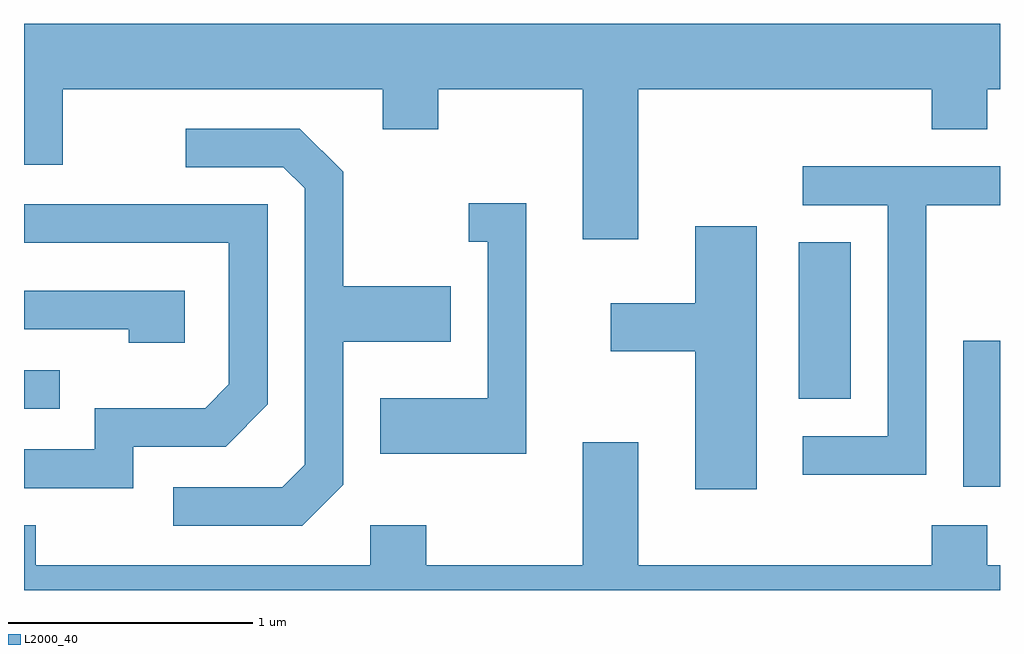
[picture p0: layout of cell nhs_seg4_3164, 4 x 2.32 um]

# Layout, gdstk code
import gdstk
lib = gdstk.Library(unit=1e-6, precision=1e-09)
def R(c, l, rs):  # rectangles x0, y0, x1, y1
    for r in rs: c.add(gdstk.rectangle(r[:2], r[2:], *l))
def P(c, l, *ps):  # polygons
    for p in ps: c.add(gdstk.Polygon(p, *l))
L2000_40 = (2000, 40)

nhs_seg4_3164 = lib.new_cell('nhs_seg4_3164')
R(nhs_seg4_3164, L2000_40, [(281.461,1326.406,281.611,1327.004), (277.611,1326.726,277.758,1326.884), (280.786,1326.766,280.999,1327.409)])
P(nhs_seg4_3164, L2000_40, [(280.129,1328.036),(281.331,1328.036),(281.331,1327.871),(281.559,1327.871),(281.559,1328.036),(281.611,1328.036),(281.611,1328.304),(277.611,1328.304),(277.611,1327.726),(277.769,1327.726),(277.769,1328.036),(279.081,1328.036),(279.081,1327.871),(279.309,1327.871),(279.309,1328.036),(279.901,1328.036),(279.901,1327.421),(280.129,1327.421)],
  [(278.919,1326.414),(278.919,1327.001),(279.359,1327.001),(279.359,1327.229),(278.919,1327.229),(278.919,1327.697),(278.742,1327.874),(278.273,1327.874),(278.273,1327.716),(278.674,1327.716),(278.761,1327.629),(278.761,1326.497),(278.669,1326.404),(278.223,1326.404),(278.223,1326.246),(278.752,1326.246)],
  [(281.309,1327.561),(281.611,1327.561),(281.611,1327.719),(280.803,1327.719),(280.803,1327.561),(281.151,1327.561),(281.151,1326.614),(280.803,1326.614),(280.803,1326.456),(281.309,1326.456)],
  [(279.669,1327.569),(279.433,1327.569),(279.433,1327.411),(279.511,1327.411),(279.511,1326.769),(279.071,1326.769),(279.071,1326.541),(279.669,1326.541)],
  [(278.059,1326.571),(278.437,1326.571),(278.609,1326.744),(278.609,1327.564),(277.611,1327.564),(277.611,1327.406),(278.451,1327.406),(278.451,1326.827),(278.354,1326.729),(277.901,1326.729),(277.901,1326.559),(277.611,1326.559),(277.611,1326.401),(278.059,1326.401)],
  [(280.614,1327.474),(280.361,1327.474),(280.361,1327.159),(280.016,1327.159),(280.016,1326.961),(280.361,1326.961),(280.361,1326.396),(280.614,1326.396)],
  [(278.269,1327.209),(277.611,1327.209),(277.611,1327.051),(278.041,1327.051),(278.041,1326.996),(278.269,1326.996)],
  [(281.611,1326.084),(281.559,1326.084),(281.559,1326.249),(281.331,1326.249),(281.331,1326.084),(280.129,1326.084),(280.129,1326.589),(279.901,1326.589),(279.901,1326.084),(279.259,1326.084),(279.259,1326.249),(279.031,1326.249),(279.031,1326.084),(277.659,1326.084),(277.659,1326.249),(277.611,1326.249),(277.611,1325.982),(281.611,1325.982)])

lib.write_gds('nhs_seg4_3164.gds')
